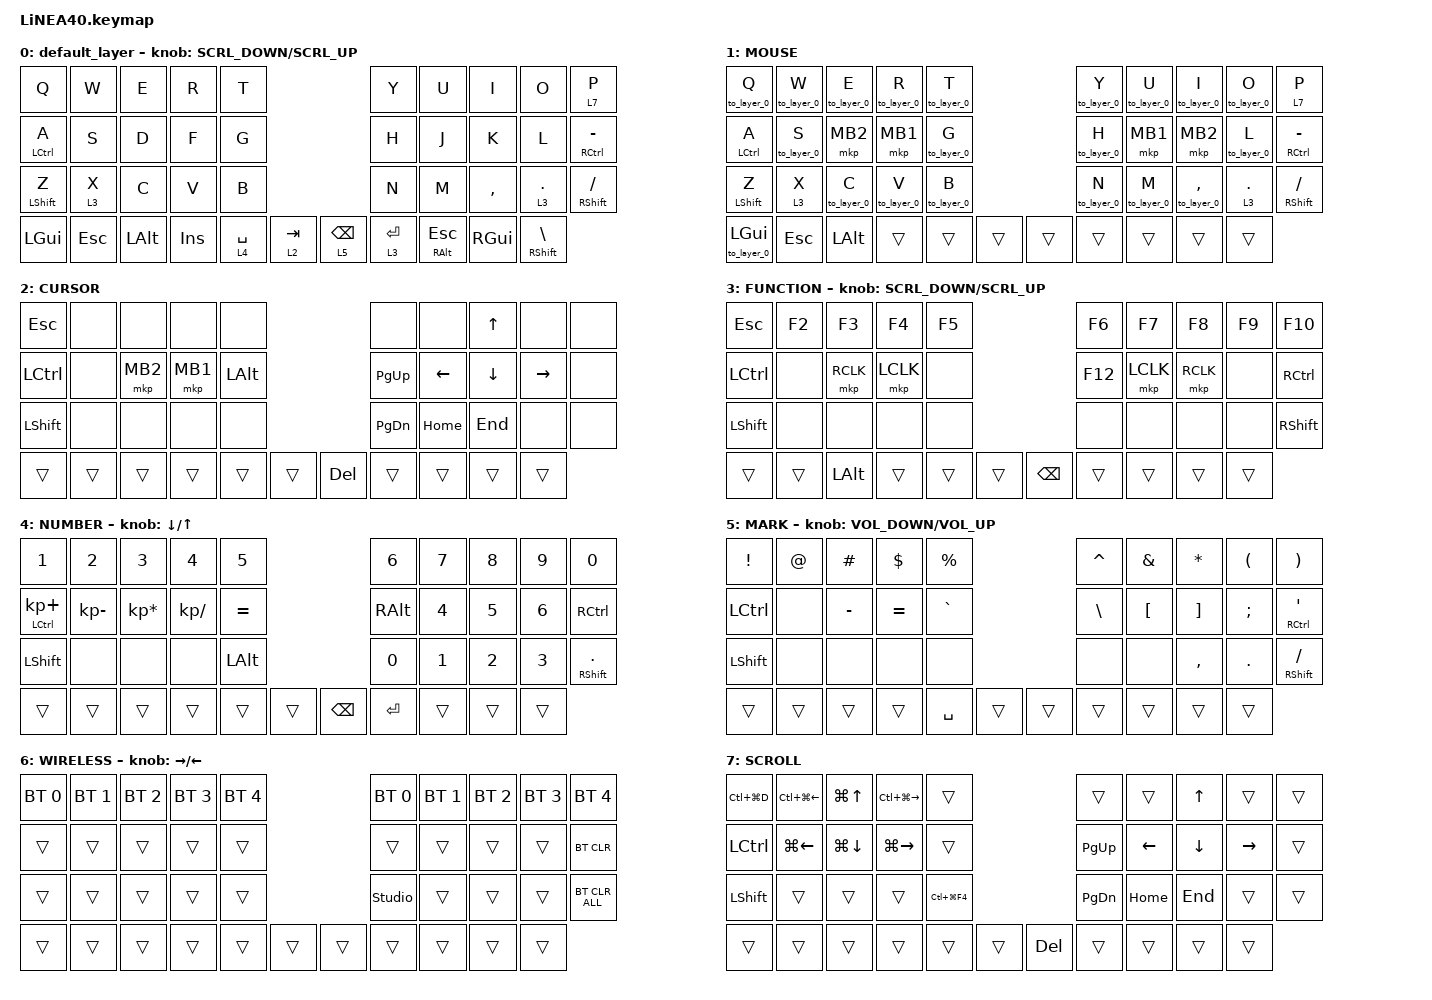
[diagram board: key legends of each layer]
#define ZMK_POINTING_DEFAULT_SCRL_VAL 100

#include <dt-bindings/zmk/input_transform.h>
#include <input/processors.dtsi>
#include <zephyr/dt-bindings/input/input-event-codes.h>
#include <behaviors.dtsi>
#include <dt-bindings/zmk/bt.h>
#include <dt-bindings/zmk/keys.h>
#include <dt-bindings/zmk/pointing.h>

#define MOUSE 1
#define CURSOR 2
#define FUNCTION 3
#define NUMBER 4
#define MARK 5
#define WIRELESS 6
#define SCROLL 7

//mouse cursol

&mmv {
    delay-ms = <20>;
    trigger-period-ms = <5>;
    time-to-max-speed-ms = <100>;
    acceleration-exponent = <2>;
};

//mouse scroll

&msc {
    delay-ms = <3>;
    trigger-period-ms = <3>;
    time-to-max-speed-ms = <100>;
    acceleration-exponent = <0>;
};

/ {
    input_processors {
        zip_wheel_scaler: zip_wheel_scaler {
            compatible = "zmk,input-processor-scaler";
            #input-processor-cells = <2>;
            type = <INPUT_EV_REL>;
            codes = <INPUT_REL_WHEEL>;
            track-remainders;
        };

        zip_xy_scaler_precision: zip_xy_scaler_precision {
            compatible = "zmk,input-processor-scaler";
            #input-processor-cells = <2>;
            type = <INPUT_EV_REL>;
            codes = <INPUT_REL_X>, <INPUT_REL_Y>;

            track-remainders;
        };
    };
};

&msc_input_listener {
    speed_up {
        layers = <FUNCTION>;
        input-processors = <&zip_wheel_scaler 3 1>; //スクロールを3倍速にする
    };
};

&trackball_listener {
    precision_mode {
        layers = <NUMBER>;
        input-processors = <&zip_xy_scaler_precision 1 3>; // 速度を1/Xに減速
    };

    scroller {
        layers = <CURSOR SCROLL>;
        input-processors =
            <&zip_xy_transform INPUT_TRANSFORM_Y_INVERT>,
            <&zip_xy_scaler 1 5>,
            <&zip_xy_to_scroll_mapper>;
    };
};

/ {
    combos {
        compatible = "zmk,combos";

        lang1 {
            bindings = <&kp LANG1>;
            key-positions = <7 8>;
            layers = <0>;
        };

        left_click {
            bindings = <&mkp LCLK>;
            key-positions = <16 17>;
            layers = <0 4>;
        };

        right_click {
            bindings = <&mkp RCLK>;
            key-positions = <17 18>;
            layers = <0 4>;
        };

        lang2 {
            bindings = <&kp LANG2>;
            key-positions = <1 2>;
        };

        bs {
            bindings = <&kp BACKSPACE>;
            key-positions = <9 8>;
        };
    };

    behaviors {
        re_kp: sensor_rotate_kp {
            compatible = "zmk,behavior-sensor-rotate-var";
            #sensor-binding-cells = <2>;
            bindings = <&kp>, <&kp>;
        };

        mouse_scrl: mouse_wheel_scrl {
            compatible = "zmk,behavior-sensor-rotate-var";
            #sensor-binding-cells = <2>;
            bindings = <&msc>, <&msc>;

            tap-ms = <20>;
        };

        baseAndS: baseAndS {
            compatible = "zmk,behavior-hold-tap";
            #binding-cells = <2>;
            flavor = "tap-preferred";
            tapping-term-ms = <280>;
            quick-tap-ms = <280>;
            bindings = <&kp>, <&kp>;

            display-name = "SandS";
            label = "BASEANDS";
        };
    };

    macros {
        // マウスレイヤーを解除しながら、引数で渡されたキーを入力するマクロ

        to_layer_0: to_layer_0 {
            compatible = "zmk,behavior-macro-one-param";
            #binding-cells = <1>;
            bindings = <&tog 1 &macro_param_1to1 &kp MACRO_PLACEHOLDER>;
            label = "TO_layer_0";
        };
    };

    keymap {
        compatible = "zmk,keymap";

        default_layer {
            bindings = <
&kp Q                     &kp W       &kp E         &kp R    &kp T                                      &kp Y        &kp U  &kp I                       &kp O          &lt 7 P
&baseAndS LEFT_CONTROL A  &kp S       &kp D         &kp F    &kp G                                      &kp H        &kp J  &kp K                       &kp L          &baseAndS RIGHT_CONTROL MINUS
&baseAndS LEFT_SHIFT Z    &lt 3 X     &kp C         &kp V    &kp B                                      &kp N        &kp M  &kp COMMA                   &lt 3 PERIOD   &baseAndS RIGHT_SHIFT SLASH
&kp LEFT_GUI              &kp ESCAPE  &kp LEFT_ALT  &kp INS  &lt 4 SPACE  &lt 2 TAB    &lt 5 BACKSPACE  &lt 3 ENTER         &baseAndS RIGHT_ALT ESCAPE  &kp RIGHT_GUI  &baseAndS RIGHT_SHIFT BACKSLASH
            >;

            sensor-bindings = <&mouse_scrl SCRL_DOWN SCRL_UP>;
        };

        MOUSE {
            bindings = <
&to_layer_0 Q             &to_layer_0 W  &to_layer_0 E  &to_layer_0 R  &to_layer_0 T                    &to_layer_0 Y  &to_layer_0 U  &to_layer_0 I      &to_layer_0 O  &lt 7 P
&baseAndS LEFT_CONTROL A  &to_layer_0 S  &mkp MB2       &mkp MB1       &to_layer_0 G                    &to_layer_0 H  &mkp MB1       &mkp MB2           &to_layer_0 L  &baseAndS RIGHT_CONTROL MINUS
&baseAndS LEFT_SHIFT Z    &lt 3 X        &to_layer_0 C  &to_layer_0 V  &to_layer_0 B                    &to_layer_0 N  &to_layer_0 M  &to_layer_0 COMMA  &lt 3 PERIOD   &baseAndS RIGHT_SHIFT SLASH
&to_layer_0 LEFT_GUI      &kp ESCAPE     &kp LEFT_ALT   &trans         &trans         &trans    &trans  &trans                        &trans             &trans         &trans
            >;
        };

        CURSOR {
            bindings = <
&kp ESCAPE        &none   &none     &none     &none                            &none          &none           &kp UP_ARROW    &none            &none
&kp LEFT_CONTROL  &none   &mkp MB2  &mkp MB1  &kp LEFT_ALT                     &kp PAGE_UP    &kp LEFT_ARROW  &kp DOWN_ARROW  &kp RIGHT_ARROW  &none
&kp LEFT_SHIFT    &none   &none     &none     &none                            &kp PAGE_DOWN  &kp HOME        &kp END         &none            &none
&trans            &trans  &trans    &trans    &trans        &trans    &kp DEL  &trans                         &trans          &trans           &trans
            >;
        };

        FUNCTION {
            bindings = <
&kp ESCAPE        &kp F2  &kp F3        &kp F4     &kp F5                           &kp F6   &kp F7     &kp F8     &kp F9  &kp F10
&kp LEFT_CONTROL  &none   &mkp RCLK     &mkp LCLK  &none                            &kp F12  &mkp LCLK  &mkp RCLK  &none   &kp RIGHT_CONTROL
&kp LEFT_SHIFT    &none   &none         &none      &none                            &none    &none      &none      &none   &kp RIGHT_SHIFT
&trans            &trans  &kp LEFT_ALT  &trans     &trans  &trans    &kp BACKSPACE  &trans              &trans     &trans  &trans
            >;

            sensor-bindings = <&mouse_scrl SCRL_DOWN SCRL_UP>;
        };

        NUMBER {
            bindings = <
&kp NUMBER_1                    &kp NUMBER_2  &kp NUMBER_3     &kp NUMBER_4  &kp NUMBER_5                           &kp NUMBER_6   &kp NUMBER_7  &kp NUMBER_8  &kp NUMBER_9  &kp NUMBER_0
&baseAndS LEFT_CONTROL KP_PLUS  &kp KP_MINUS  &kp KP_ASTERISK  &kp KP_SLASH  &kp EQUAL                              &kp RIGHT_ALT  &kp NUMBER_4  &kp NUMBER_5  &kp NUMBER_6  &kp RIGHT_CONTROL
&kp LEFT_SHIFT                  &none         &none            &none         &kp LEFT_ALT                           &kp NUMBER_0   &kp NUMBER_1  &kp NUMBER_2  &kp NUMBER_3  &baseAndS RIGHT_SHIFT PERIOD
&trans                          &trans        &trans           &trans        &trans        &trans    &kp BACKSPACE  &kp ENTER                    &trans        &trans        &trans
            >;

            sensor-bindings = <&inc_dec_kp DOWN_ARROW UP_ARROW>;
        };

        MARK {
            bindings = <
&kp EXCLAMATION   &kp AT  &kp HASH   &kp DOLLAR  &kp PERCENT                    &kp CARET      &kp AMPERSAND     &kp ASTERISK       &kp LEFT_PARENTHESIS  &kp RIGHT_PARENTHESIS
&kp LEFT_CONTROL  &none   &kp MINUS  &kp EQUAL   &kp GRAVE                      &kp BACKSLASH  &kp LEFT_BRACKET  &kp RIGHT_BRACKET  &kp SEMICOLON         &baseAndS RIGHT_CONTROL SINGLE_QUOTE
&kp LEFT_SHIFT    &none   &none      &none       &none                          &none          &none             &kp COMMA          &kp PERIOD            &baseAndS RIGHT_SHIFT SLASH
&trans            &trans  &trans     &trans      &kp SPACE    &trans    &trans  &trans                           &trans             &trans                &trans
            >;

            sensor-bindings = <&re_kp C_VOLUME_DOWN C_VOLUME_UP>;
        };

        WIRELESS {
            bindings = <
&bt BT_SEL 0  &bt BT_SEL 1  &bt BT_SEL 2  &bt BT_SEL 3  &bt BT_SEL 4                    &bt BT_SEL 0    &bt BT_SEL 1  &bt BT_SEL 2  &bt BT_SEL 3  &bt BT_SEL 4
&trans        &trans        &trans        &trans        &trans                          &trans          &trans        &trans        &trans        &bt BT_CLR
&trans        &trans        &trans        &trans        &trans                          &studio_unlock  &trans        &trans        &trans        &bt BT_CLR_ALL
&trans        &trans        &trans        &trans        &trans        &trans    &trans  &trans                        &trans        &trans        &trans
            >;

            sensor-bindings = <&inc_dec_kp RIGHT_ARROW LEFT_ARROW>;
        };

        SCROLL {
            bindings = <
&kp LC(LG(D))     &kp LC(LG(LEFT_ARROW))  &kp LG(UP_ARROW)    &kp LC(LG(RIGHT_ARROW))  &trans                                &trans         &trans          &kp UP_ARROW    &trans           &trans
&kp LEFT_CONTROL  &kp LG(LEFT_ARROW)      &kp LG(DOWN_ARROW)  &kp LG(RIGHT_ARROW)      &trans                                &kp PAGE_UP    &kp LEFT_ARROW  &kp DOWN_ARROW  &kp RIGHT_ARROW  &trans
&kp LEFT_SHIFT    &trans                  &trans              &trans                   &kp LC(LG(F4))                        &kp PAGE_DOWN  &kp HOME        &kp END         &trans           &trans
&trans            &trans                  &trans              &trans                   &trans          &trans    &kp DELETE  &trans                         &trans          &trans           &trans
            >;
        };
    };

    conditional_layers {
        compatible = "zmk,conditional-layers";

        wireless {
            if-layers = <2 3>;
            then-layer = <6>;
        };
    };
};
